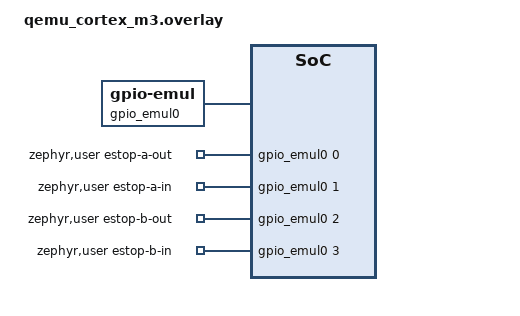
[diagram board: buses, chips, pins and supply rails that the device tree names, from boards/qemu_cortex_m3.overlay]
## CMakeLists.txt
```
# HAL glue tests. Needs gpio_emul, so native_sim only.
cmake_minimum_required(VERSION 3.20.0)
find_package(Zephyr REQUIRED HINTS $ENV{ZEPHYR_BASE})
project(estop_gpio)

include(${CMAKE_CURRENT_SOURCE_DIR}/../../pstop_c.cmake)

set(APP_SRC ${CMAKE_CURRENT_SOURCE_DIR}/../../src)

target_sources(app PRIVATE
  src/main.c
  ${APP_SRC}/estop_verdict.c
  ${APP_SRC}/estop_gpio.c
)
target_include_directories(app PRIVATE ${APP_SRC} ${PSTOP_C_INCLUDE})
```

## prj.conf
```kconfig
CONFIG_ZTEST=y
CONFIG_GPIO=y
CONFIG_GPIO_EMUL=y
```

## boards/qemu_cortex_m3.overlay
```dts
/*
 * Copyright (c) 2026 Richard Osterloh <richard.osterloh@gmail.com>
 * SPDX-License-Identifier: Apache-2.0
 *
 * Same dual-channel stop-switch loopback as the native_sim overlay, on an
 * emulated GPIO controller this board does not otherwise have.
 *
 * Why this exists: native_sim is Linux-only, so on a macOS host none of this
 * application's suites could run. gpio_emul is not tied to an architecture --
 * CONFIG_GPIO_EMUL only depends on DT_HAS_ZEPHYR_GPIO_EMUL_ENABLED -- so
 * declaring a controller here is enough to make the HAL-glue tests run
 * anywhere the Zephyr SDK does, qemu_cortex_m3 included.
 *
 * The board's own gpio0..gpio6 are real ti,stellaris-gpio controllers, which
 * cannot be driven by gpio_emul_input_set_dt(). Hence a separate emulated
 * controller rather than an override of one of those.
 *
 * Unlike the native_sim overlay, this one includes the GPIO dt-bindings
 * header: native_sim.dts already pulls it in, the lm3s6965 tree does not.
 */

#include <zephyr/dt-bindings/gpio/gpio.h>

/ {
	gpio_emul0: gpio_emul {
		compatible = "zephyr,gpio-emul";
		rising-edge;
		falling-edge;
		high-level;
		low-level;
		gpio-controller;
		#gpio-cells = <2>;
		status = "okay";
	};

	zephyr,user {
		estop-a-out-gpios = <&gpio_emul0 0 GPIO_ACTIVE_HIGH>;
		estop-a-in-gpios = <&gpio_emul0 1 GPIO_ACTIVE_HIGH>;
		estop-b-out-gpios = <&gpio_emul0 2 GPIO_ACTIVE_HIGH>;
		estop-b-in-gpios = <&gpio_emul0 3 GPIO_ACTIVE_HIGH>;
	};
};
```

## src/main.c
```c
/*
 * Copyright (c) 2026 Richard Osterloh <richard.osterloh@gmail.com>
 * SPDX-License-Identifier: Apache-2.0
 *
 * HAL glue tests: does driving both phases through a simulated DPST pole
 * produce the right verdict, and does a single-pole fault split the channels?
 */

#include <zephyr/ztest.h>

#include "estop_gpio.h"
#include "estop_verdict.h"
#include "pstop/pstop_msg.h"

static void *suite_setup(void)
{
	zassert_ok(estop_gpio_init(), "gpio init");
	return NULL;
}

ZTEST(estop_gpio, test_closed_pole_arms_after_debounce)
{
	estop_state_t st;
	uint8_t msg = PSTOP_MESSAGE_STOP;

	estop_state_init(&st);
	estop_sim_set_pole(0, true);

	for (unsigned int i = 0U; i < LOOP_RECLOSE_DEBOUNCE_TICKS; i++) {
		msg = estop_channel_sample(0, &st);
	}
	zassert_equal(msg, PSTOP_MESSAGE_OK, "closed pole must arm");
}

ZTEST(estop_gpio, test_open_pole_stops)
{
	estop_state_t st;

	estop_state_init(&st);
	estop_sim_set_pole(0, true);
	for (unsigned int i = 0U; i < LOOP_RECLOSE_DEBOUNCE_TICKS; i++) {
		(void)estop_channel_sample(0, &st);
	}

	estop_sim_set_pole(0, false);
	zassert_equal(estop_channel_sample(0, &st), PSTOP_MESSAGE_STOP,
		      "open pole must stop on the next tick");
}

ZTEST(estop_gpio, test_single_pole_fault_splits_the_channels)
{
	estop_state_t st[2];
	uint8_t v0;
	uint8_t v1;

	estop_state_init(&st[0]);
	estop_state_init(&st[1]);

	/* Pole A intact, pole B broken: exactly the fault lockstep exists for. */
	estop_sim_set_pole(0, true);
	estop_sim_set_pole(1, false);

	for (unsigned int i = 0U; i < LOOP_RECLOSE_DEBOUNCE_TICKS; i++) {
		v0 = estop_channel_sample(0, &st[0]);
		v1 = estop_channel_sample(1, &st[1]);
	}

	zassert_equal(v0, PSTOP_MESSAGE_OK, "healthy channel reports OK");
	zassert_equal(v1, PSTOP_MESSAGE_STOP, "broken channel reports STOP");
	zassert_not_equal(v0, v1, "the channels must disagree, silencing the comparator");
}

ZTEST(estop_gpio, test_channels_are_independent)
{
	estop_state_t st[2];

	estop_state_init(&st[0]);
	estop_state_init(&st[1]);
	estop_sim_set_pole(0, true);
	estop_sim_set_pole(1, true);

	for (unsigned int i = 0U; i < LOOP_RECLOSE_DEBOUNCE_TICKS; i++) {
		(void)estop_channel_sample(0, &st[0]);
		(void)estop_channel_sample(1, &st[1]);
	}

	/* Sampling channel 0 must not disturb channel 1's pins. */
	estop_sim_set_pole(0, false);
	(void)estop_channel_sample(0, &st[0]);
	zassert_equal(estop_channel_sample(1, &st[1]), PSTOP_MESSAGE_OK,
		      "channel 1 must be unaffected by channel 0");
}

ZTEST_SUITE(estop_gpio, NULL, suite_setup, NULL, NULL, NULL);
```
